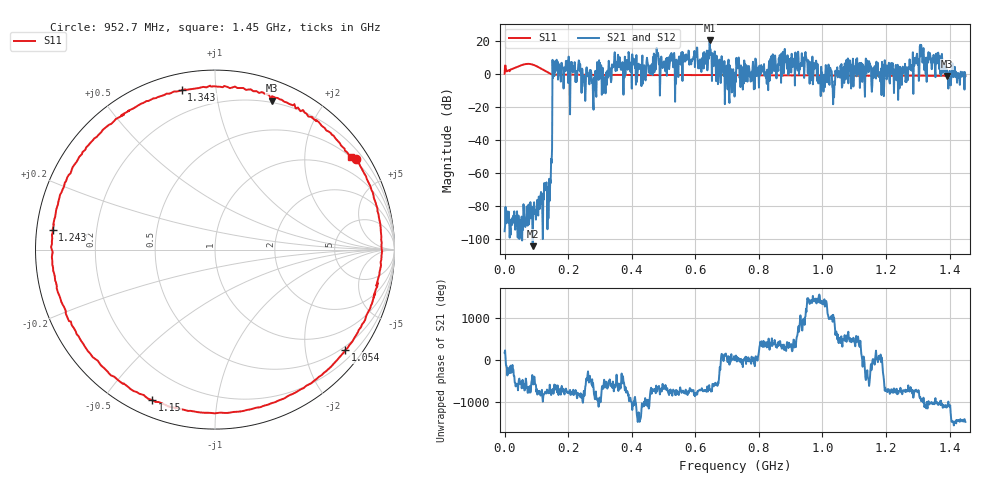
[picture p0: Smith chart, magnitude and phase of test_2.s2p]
! Created with skrf 1.11.0 (http://scikit-rf.org).
# Hz S RI R 50.0
!freq ReS11 ImS11 ReS21 ImS21 ReS12 ImS12 ReS22 ImS22
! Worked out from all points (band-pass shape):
!   1001 points, 50 kHz to 1.45 GHz, reference 50 ohm
!   highest |S21| = 20.60 dB at 645.3 MHz (marker M1); lowest = -104.3 dB at 88.5 MHz (marker M2)
!   |S21| within 3 dB of the highest: 644.7626 MHz to 646.05 MHz (1.287 MHz wide, 0.199 % of centre); 1.307404 GHz to 1.307987 GHz (583.5 kHz wide, 0.0446 % of centre) (the widest 2 of 3)
!   lowest |S11| = -1.0 dB at 1.392 GHz (marker M3), VSWR 16.83, Z = 9.15 + j71.7 ohm
!   |S11| at or under -10 dB: nowhere
!   |S22| runs from - to - dB; largest |S21 - S12| = 0
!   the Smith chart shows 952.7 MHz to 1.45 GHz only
!   S11 on the Smith chart (normalised r, x): 952.7 MHz: 0.43, +3.37; 1.054 GHz: 0.41, -2.89; 1.15 GHz: 0.07, -0.66; 1.243 GHz: 0.05, +0.06; 1.343 GHz: 0.08, +0.81; 1.45 GHz: 0.50, +3.17
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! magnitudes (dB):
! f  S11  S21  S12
! 50 kHz  0.4  -95.3  -95.3
! 88.5 MHz  5.9  -104.3  -104.3
! 140.7 MHz  0.7  -63.4  -63.4
! 158.1 MHz  -0.1  7.9  7.9
! 242.2 MHz  -0.2  -11.2  -11.2
! 281.3 MHz  -0.3  -1.9  -1.9
! 297.3 MHz  -0.4  8.6  8.6
! 317.6 MHz  -0.3  -11.5  -11.5
! 350.9 MHz  -0.4  7.7  7.7
! 437.9 MHz  -0.4  -1.4  -1.4
! 484.3 MHz  -0.4  10.7  10.7
! 645.3 MHz  -0.4  20.6  20.6
! 725 MHz  -0.5  -8.0  -8.0
! 952.7 MHz  -0.6  7.1  7.1
! 967.2 MHz  -0.6  -3.6  -3.6
! 1.054 GHz  -0.8  1.0  1.0
! 1.15 GHz  -0.8  6.6  6.6
! 1.209 GHz  -0.9  7.0  7.0
! 1.243 GHz  -0.8  -8.5  -8.5
! 1.343 GHz  -0.8  8.4  8.4
! 1.392 GHz  -1.0  3.1  3.1
! 1.45 GHz  -0.8  -1.1  -1.1
